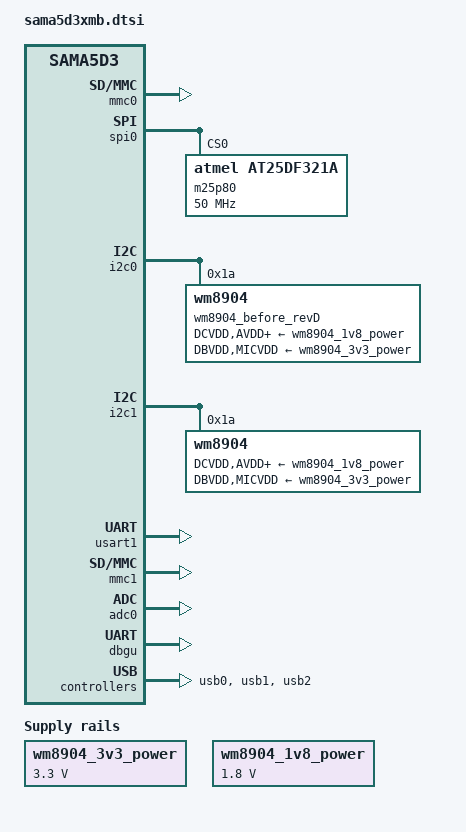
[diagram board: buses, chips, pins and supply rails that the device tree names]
/*
 * sama5d3xmb.dts - Device Tree file for SAMA5D3x mother board
 *
 *  Copyright (C) 2013 Atmel,
 *                2013 Ludovic Desroches <ludovic.desroches@atmel.com>
 *
 * Licensed under GPLv2 or later.
 */
#include "sama5d3xcm.dtsi"

/ {
	compatible = "atmel,sama5d3xmb", "atmel,sama5d3xcm", "atmel,sama5d3", "atmel,sama5";

	ahb {
		apb {
			mmc0: mmc@f0000000 {
				pinctrl-names = "default", "sleep";
				pinctrl-0 = <&pinctrl_mmc0_clk_cmd_dat0 &pinctrl_mmc0_dat1_3 &pinctrl_mmc0_cd>;
				pinctrl-1 = <&pinctrl_mmc0_clk_cmd_dat0_sleep &pinctrl_mmc0_dat1_3_sleep &pinctrl_mmc0_dat4_7_sleep>;
				status = "okay";
				slot@0 {
					reg = <0>;
					bus-width = <4>;
					cd-gpios = <&pioD 17 GPIO_ACTIVE_HIGH>;
				};
			};

			spi0: spi@f0004000 {
				m25p80@0 {
					compatible = "atmel,at25df321a";
					spi-max-frequency = <50000000>;
					reg = <0>;
				};
			};

			/*
			 * i2c0 conflicts with ISI before revD:
			 * disable it to allow the use of ISI
			 * can not enable audio when i2c0 disabled
			 */
			i2c0: i2c@f0014000 {
				pinctrl-names = "default", "sleep";
				pinctrl-1 = <&pinctrl_i2c0_sleep>;

				wm8904_before_revD: wm8904@1a {
					compatible = "wm8904";
					reg = <0x1a>;

					DCVDD-supply = <&wm8904_1v8_power>;
					DBVDD-supply = <&wm8904_3v3_power>;
					AVDD-supply = <&wm8904_1v8_power>;
					CPVDD-supply = <&wm8904_1v8_power>;
					MICVDD-supply = <&wm8904_3v3_power>;
				};
			};

			i2c1: i2c@f0018000 {
				wm8904: wm8904@1a {
					compatible = "wm8904";
					reg = <0x1a>;

					DCVDD-supply = <&wm8904_1v8_power>;
					DBVDD-supply = <&wm8904_3v3_power>;
					AVDD-supply = <&wm8904_1v8_power>;
					CPVDD-supply = <&wm8904_1v8_power>;
					MICVDD-supply = <&wm8904_3v3_power>;
				};
			};

			usart1: serial@f0020000 {
				pinctrl-names = "default";
				pinctrl-0 = <&pinctrl_usart1 &pinctrl_usart1_rts_cts>;
				status = "okay";
			};

			isi: isi@f0034000 {
				pinctrl-names = "default";
				pinctrl-0 = <&pinctrl_isi &pinctrl_isi_pck_as_mck &pinctrl_isi_power &pinctrl_isi_reset>;
			};

			mmc1: mmc@f8000000 {
				pinctrl-names = "default", "sleep";
				pinctrl-0 = <&pinctrl_mmc1_clk_cmd_dat0 &pinctrl_mmc1_dat1_3 &pinctrl_mmc1_cd>;
				pinctrl-1 = <&pinctrl_mmc1_clk_cmd_dat0_sleep &pinctrl_mmc1_dat1_3_sleep>;
				status = "okay";
				slot@0 {
					reg = <0>;
					bus-width = <4>;
					cd-gpios = <&pioD 18 GPIO_ACTIVE_HIGH>;
				};
			};

			adc0: adc@f8018000 {
				pinctrl-names = "default";
				pinctrl-0 = <
					&pinctrl_adc0_adtrg
					&pinctrl_adc0_ad0
					&pinctrl_adc0_ad1
					&pinctrl_adc0_ad2
					&pinctrl_adc0_ad3
					&pinctrl_adc0_ad4
					>;
				status = "okay";
			};

			macb1: ethernet@f802c000 {
				phy-mode = "rmii";
				pinctrl-names = "default", "sleep";
				pinctrl-1 = <&pinctrl_macb1_rmii_sleep>;
			};

			pinctrl@fffff200 {
				mmc0 {
					pinctrl_mmc0_clk_cmd_dat0_sleep: mmc0_clk_cmd_dat0_1 {
						atmel,pins =
							<AT91_PIOD 9 AT91_PERIPH_GPIO AT91_PINCTRL_PULL_UP	/* PD9 GPIO Input with pullup */
							 AT91_PIOD 0 AT91_PERIPH_GPIO AT91_PINCTRL_PULL_UP	/* PD0 GPIO Input with pullup */
							 AT91_PIOD 1 AT91_PERIPH_GPIO AT91_PINCTRL_PULL_UP>;	/* PD1 GPIO Input with pullup */
					};
					pinctrl_mmc0_dat1_3_sleep: mmc0_dat1_3_1 {
						atmel,pins =
							<AT91_PIOD 2 AT91_PERIPH_GPIO AT91_PINCTRL_PULL_UP	/* PD2 GPIO Input with pullup */
							 AT91_PIOD 3 AT91_PERIPH_GPIO AT91_PINCTRL_PULL_UP	/* PD3 GPIO Input with pullup */
							 AT91_PIOD 4 AT91_PERIPH_GPIO AT91_PINCTRL_PULL_UP>;	/* PD4 GPIO Input with pullup */
					};
					pinctrl_mmc0_dat4_7_sleep: mmc0_dat4_7_1 {
						atmel,pins =
							<AT91_PIOD 5 AT91_PERIPH_GPIO AT91_PINCTRL_PULL_UP	/* PD5 GPIO Input with pullup */
							 AT91_PIOD 6 AT91_PERIPH_GPIO AT91_PINCTRL_PULL_UP	/* PD6 GPIO Input with pullup */
							 AT91_PIOD 7 AT91_PERIPH_GPIO AT91_PINCTRL_PULL_UP	/* PD7 GPIO Input with pullup */
							 AT91_PIOD 8 AT91_PERIPH_GPIO AT91_PINCTRL_PULL_UP>;	/* PD8 GPIO Input with pullup */
					};
				};

				mmc1 {
					pinctrl_mmc1_clk_cmd_dat0_sleep: mmc1_clk_cmd_dat0_1 {
						atmel,pins =
							<AT91_PIOB 24 AT91_PERIPH_GPIO AT91_PINCTRL_PULL_UP	/* PB24 GPIO Input with pullup */
							 AT91_PIOB 19 AT91_PERIPH_GPIO AT91_PINCTRL_PULL_UP	/* PB19 GPIO Input with pullup */
							 AT91_PIOB 20 AT91_PERIPH_GPIO AT91_PINCTRL_PULL_UP>;	/* PB20 GPIO Input with pullup */
					};
					pinctrl_mmc1_dat1_3_sleep: mmc1_dat1_3_1 {
						atmel,pins =
							<AT91_PIOB 21 AT91_PERIPH_GPIO AT91_PINCTRL_PULL_UP	/* PB21 GPIO Input with pullup */
							 AT91_PIOB 22 AT91_PERIPH_GPIO AT91_PINCTRL_PULL_UP	/* PB22 GPIO Input with pullup */
							 AT91_PIOB 23 AT91_PERIPH_GPIO AT91_PINCTRL_PULL_UP>;	/* PB23 GPIO Input with pullup */
					};
				};

				i2c0 {
					pinctrl_i2c0_sleep: i2c0-1 {
						atmel,pins =
							<AT91_PIOA 30 AT91_PERIPH_GPIO AT91_PINCTRL_PULL_UP	/* PA30 GPIO Input with pullup */
							 AT91_PIOA 31 AT91_PERIPH_GPIO AT91_PINCTRL_PULL_UP>;	/* PA31 GPIO Input with pullup */
					};
				};

				macb1 {
					pinctrl_macb1_rmii_sleep: macb1_rmii-1 {
						atmel,pins =
							<AT91_PIOC 8 AT91_PERIPH_GPIO AT91_PINCTRL_PULL_UP	/* PC8 GPIO Input with pullup */
							 AT91_PIOC 9 AT91_PERIPH_GPIO AT91_PINCTRL_PULL_UP>;	/* PC9 GPIO Input with pullup */
					};
				};

				board {
					pinctrl_mmc0_cd: mmc0_cd {
						atmel,pins =
							<AT91_PIOD 17 AT91_PERIPH_GPIO AT91_PINCTRL_PULL_UP_DEGLITCH>; /* PD17 GPIO with pullup deglitch */
					};

					pinctrl_mmc1_cd: mmc1_cd {
						atmel,pins =
							<AT91_PIOD 18 AT91_PERIPH_GPIO AT91_PINCTRL_PULL_UP_DEGLITCH>; /* PD18 GPIO with pullup deglitch */
					};

					pinctrl_pck0_as_audio_mck: pck0_as_audio_mck {
						atmel,pins =
							<AT91_PIOD 30 AT91_PERIPH_B AT91_PINCTRL_NONE>;	/* PD30 periph B */
					};

					pinctrl_isi_reset: isi_reset-0 {
						atmel,pins =
							<AT91_PIOE 24 AT91_PERIPH_GPIO AT91_PINCTRL_NONE>;   /* PE24 gpio */
					};

					pinctrl_isi_power: isi_power-0 {
						atmel,pins =
							<AT91_PIOE 29 AT91_PERIPH_GPIO AT91_PINCTRL_NONE>; /* PE29 gpio */
					};

					pinctrl_usba_vbus: usba_vbus {
						atmel,pins =
							<AT91_PIOD 29 AT91_PERIPH_GPIO AT91_PINCTRL_DEGLITCH>; /* PD29 GPIO with deglitch */
					};
				};
			};

			dbgu: serial@ffffee00 {
				status = "okay";
			};

			watchdog@fffffe40 {
				status = "okay";
			};
		};

		usb0: gadget@00500000 {
			atmel,vbus-gpio = <&pioD 29 GPIO_ACTIVE_HIGH>;
			pinctrl-names = "default";
			pinctrl-0 = <&pinctrl_usba_vbus>;
			status = "okay";
		};

		usb1: ohci@00600000 {
			num-ports = <3>;
			atmel,vbus-gpio = <&pioD 25 GPIO_ACTIVE_HIGH
					   &pioD 26 GPIO_ACTIVE_LOW
					   &pioD 27 GPIO_ACTIVE_LOW
					  >;
			status = "okay";
		};

		usb2: ehci@00700000 {
			status = "okay";
		};
	};

	sound {
		compatible = "atmel,asoc-wm8904";
		pinctrl-names = "default";
		pinctrl-0 = <&pinctrl_pck0_as_audio_mck>;

		atmel,model = "wm8904 @ SAMA5D3EK";
		atmel,audio-routing =
			"Headphone Jack", "HPOUTL",
			"Headphone Jack", "HPOUTR",
			"IN2L", "Line In Jack",
			"IN2R", "Line In Jack",
			"Mic", "MICBIAS",
			"IN1L", "Mic";

		atmel,ssc-controller = <&ssc0>;
		atmel,audio-codec = <&wm8904>;
		atmel,audio-codec-before-revD = <&wm8904_before_revD>;
		status = "disabled";
	};

	wm8904_3v3_power: wm8904_3v3_reg {
		compatible = "regulator-fixed";
		regulator-name = "wm8904_3v3";
		regulator-min-microvolt = <3300000>;
		regulator-max-microvolt = <3300000>;
		regulator-always-on;
	};

	wm8904_1v8_power: wm8904_1v8_reg {
		compatible = "regulator-fixed";
		regulator-name = "wm8904_1v8";
		regulator-min-microvolt = <1800000>;
		regulator-max-microvolt = <1800000>;
		regulator-always-on;
	};
};
